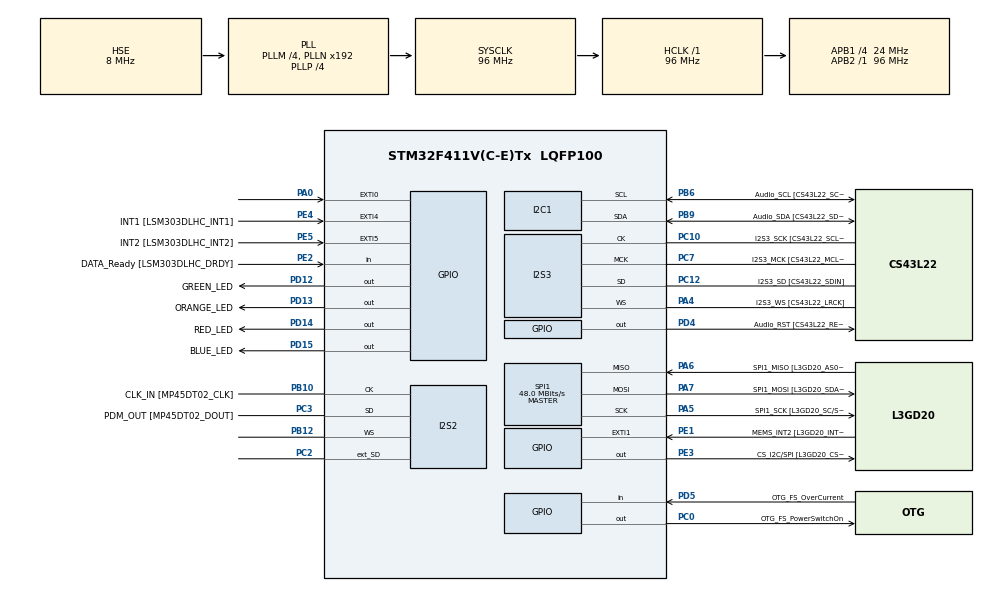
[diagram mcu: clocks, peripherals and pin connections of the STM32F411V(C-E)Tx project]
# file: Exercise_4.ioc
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FREERTOS.INCLUDE_vTaskDelayUntil=1
FREERTOS.Tasks01=GREEN_BLUE_LED,1,128,Start_GREEN_BLUE_LED,Default,NULL,Dynamic,NULL,NULL;RED_ORANGE_LED,0,128,Stat_RED_ORANGE_LED,Default,NULL,Dynamic,NULL,NULL
I2S2.AudioFreq=I2S_AUDIOFREQ_96K
I2S2.ErrorAudioFreq=0.15 %
I2S2.FullDuplexMode=I2S_FULLDUPLEXMODE_ENABLE
I2S2.Instance=SPI$Index
I2S2.RealAudioFreq=96.153 KHz
I2S2.VirtualMode=I2S_MODE_MASTER
I2S3.AudioFreq=I2S_AUDIOFREQ_96K
I2S3.ErrorAudioFreq=-6.99 %
I2S3.FullDuplexMode=I2S_FULLDUPLEXMODE_DISABLE
I2S3.Instance=SPI$Index
I2S3.RealAudioFreq=89.285 KHz
I2S3.VirtualMode=I2S_MODE_MASTER
Mcu.Family=STM32F4
Mcu.Name=STM32F411V(C-E)Tx
Mcu.Package=LQFP100
NVIC.PriorityGroup=NVIC_PRIORITYGROUP_4
NVIC.TIM1_UP_TIM10_IRQn=true\:0\:0\:false\:false\:true\:false\:false\:true
NVIC.TimeBase=TIM1_UP_TIM10_IRQn
NVIC.TimeBaseIP=TIM1
PA0-WKUP.GPIO_ModeDefaultEXTI=GPIO_MODE_EVT_RISING
PA0-WKUP.Signal=GPXTI0
PA10.GPIO_Label=OTG_FS_ID
PA10.Signal=USB_OTG_FS_ID
PA11.GPIO_Label=OTG_FS_DM
PA11.Signal=USB_OTG_FS_DM
PA12.GPIO_Label=OTG_FS_DP
PA12.Signal=USB_OTG_FS_DP
PA13.GPIO_Label=SWDIO
PA13.Mode=Serial_Wire
PA13.Signal=SYS_JTMS-SWDIO
PA14.GPIO_Label=SWCLK
PA14.Mode=Serial_Wire
PA14.Signal=SYS_JTCK-SWCLK
PA4.GPIO_Label=I2S3_WS [CS43L22_LRCK]
PA4.GPIO_Mode=GPIO_MODE_AF_PP
PA4.GPIO_PuPd=GPIO_NOPULL
PA4.GPIO_Speed=GPIO_SPEED_FREQ_LOW
PA4.Mode=Half_Duplex_Master
PA4.Signal=I2S3_WS
PA5.GPIO_Label=SPI1_SCK [L3GD20_SC/SPC]
PA5.Mode=Full_Duplex_Master
PA5.Signal=SPI1_SCK
PA6.GPIO_Label=SPI1_MISO [L3GD20_AS0/SDO]
PA6.Mode=Full_Duplex_Master
PA6.Signal=SPI1_MISO
PA7.GPIO_Label=SPI1_MOSI [L3GD20_SDA/SDI/SDO]
PA7.Mode=Full_Duplex_Master
PA7.Signal=SPI1_MOSI
PA9.GPIO_Label=VBUS_FS
PA9.Signal=USB_OTG_FS_VBUS
PB10.GPIO_Label=CLK_IN [MP45DT02_CLK]
PB10.Mode=Full_Duplex_Master
PB10.Signal=I2S2_CK
PB12.Mode=Full_Duplex_Master
PB12.Signal=I2S2_WS
PB3.GPIO_Label=SWO
PB3.Signal=SYS_JTDO-SWO
PB6.GPIO_Label=Audio_SCL [CS43L22_SCL]
PB6.GPIO_Mode=GPIO_MODE_AF_OD
PB6.GPIO_PuPd=GPIO_NOPULL
PB6.GPIO_Speed=GPIO_SPEED_FREQ_LOW
PB6.Mode=I2C
PB6.Signal=I2C1_SCL
PB9.GPIO_Label=Audio_SDA [CS43L22_SDA]
PB9.GPIO_Mode=GPIO_MODE_AF_OD
PB9.GPIO_PuPd=GPIO_NOPULL
PB9.GPIO_Speed=GPIO_SPEED_FREQ_LOW
PB9.Mode=I2C
PB9.Signal=I2C1_SDA
PC0.GPIO_Label=OTG_FS_PowerSwitchOn
PC0.PinState=GPIO_PIN_SET
PC0.Signal=GPIO_Output
PC10.GPIO_Label=I2S3_SCK [CS43L22_SCLK]
PC10.GPIO_Mode=GPIO_MODE_AF_PP
PC10.GPIO_PuPd=GPIO_NOPULL
PC10.GPIO_Speed=GPIO_SPEED_FREQ_LOW
PC10.Mode=Half_Duplex_Master
PC10.Signal=I2S3_CK
PC12.GPIO_Label=I2S3_SD [CS43L22_SDIN]
PC12.GPIO_Mode=GPIO_MODE_AF_PP
PC12.GPIO_PuPd=GPIO_NOPULL
PC12.GPIO_Speed=GPIO_SPEED_FREQ_LOW
PC12.Mode=Half_Duplex_Master
PC12.Signal=I2S3_SD
PC14-OSC32_IN.GPIO_Label=PC14-OSC32_IN
PC14-OSC32_IN.Mode=LSE-External-Oscillator
PC14-OSC32_IN.Signal=RCC_OSC32_IN
PC15-OSC32_OUT.GPIO_Label=PC15-OSC32_OUT
PC15-OSC32_OUT.Mode=LSE-External-Oscillator
PC15-OSC32_OUT.Signal=RCC_OSC32_OUT
PC2.Mode=Full_Duplex_Master
PC2.Signal=I2S2_ext_SD
PC3.GPIO_Label=PDM_OUT [MP45DT02_DOUT]
PC3.Mode=Full_Duplex_Master
PC3.Signal=I2S2_SD
PC7.GPIO_Label=I2S3_MCK [CS43L22_MCLK]
PC7.GPIO_Mode=GPIO_MODE_AF_PP
PC7.GPIO_PuPd=GPIO_NOPULL
PC7.GPIO_Speed=GPIO_SPEED_FREQ_LOW
PC7.Mode=Master_Clock_Activated
PC7.Signal=I2S3_MCK
PD12.GPIO_Label=GREEN_LED
PD12.GPIO_PuPd=GPIO_NOPULL
PD12.GPIO_Speed=GPIO_SPEED_FREQ_LOW
PD12.Signal=GPIO_Output
PD13.GPIO_Label=ORANGE_LED
PD13.GPIO_PuPd=GPIO_NOPULL
PD13.GPIO_Speed=GPIO_SPEED_FREQ_LOW
PD13.Signal=GPIO_Output
PD14.GPIO_Label=RED_LED
PD14.GPIO_PuPd=GPIO_NOPULL
PD14.GPIO_Speed=GPIO_SPEED_FREQ_LOW
PD14.Signal=GPIO_Output
PD15.GPIO_Label=BLUE_LED
PD15.GPIO_PuPd=GPIO_NOPULL
PD15.GPIO_Speed=GPIO_SPEED_FREQ_LOW
PD15.Signal=GPIO_Output
PD4.GPIO_Label=Audio_RST [CS43L22_RESET]
PD4.Signal=GPIO_Output
PD5.GPIO_Label=OTG_FS_OverCurrent
PD5.Signal=GPIO_Input
PE1.GPIO_Label=MEMS_INT2 [L3GD20_INT2]
PE1.GPIO_ModeDefaultEXTI=GPIO_MODE_EVT_RISING
PE1.Signal=GPXTI1
PE2.GPIO_Label=DATA_Ready [LSM303DLHC_DRDY]
PE2.Signal=GPIO_Input
PE3.GPIO_Label=CS_I2C/SPI [L3GD20_CS_I2C/SPI]
PE3.Signal=GPIO_Output
PE4.GPIO_Label=INT1 [LSM303DLHC_INT1]
PE4.GPIO_ModeDefaultEXTI=GPIO_MODE_EVT_RISING
PE4.Signal=GPXTI4
PE5.GPIO_Label=INT2 [LSM303DLHC_INT2]
PE5.GPIO_ModeDefaultEXTI=GPIO_MODE_EVT_RISING
PE5.Signal=GPXTI5
PH0\ -\ OSC_IN.GPIO_Label=PH0-OSC_IN
PH0\ -\ OSC_IN.Mode=HSE-External-Oscillator
PH0\ -\ OSC_IN.Signal=RCC_OSC_IN
PH1\ -\ OSC_OUT.GPIO_Label=PH1-OSC_OUT
PH1\ -\ OSC_OUT.Mode=HSE-External-Oscillator
PH1\ -\ OSC_OUT.Signal=RCC_OSC_OUT
ProjectManager.HeapSize=0x200
ProjectManager.StackSize=0x400
ProjectManager.TargetToolchain=STM32CubeIDE
RCC.48MHZClocksFreq_Value=48000000
RCC.AHBFreq_Value=96000000
RCC.APB1CLKDivider=RCC_HCLK_DIV4
RCC.APB1Freq_Value=24000000
RCC.APB1TimFreq_Value=48000000
RCC.APB2Freq_Value=96000000
RCC.APB2TimFreq_Value=96000000
RCC.CortexFreq_Value=96000000
RCC.HCLKFreq_Value=96000000
RCC.HSE_VALUE=8000000
RCC.HSI_VALUE=16000000
RCC.PLLI2SM=5
RCC.PLLI2SN=200
RCC.PLLM=4
RCC.PLLP=RCC_PLLP_DIV4
RCC.PLLQ=8
RCC.PLLSourceVirtual=RCC_PLLSOURCE_HSE
RCC.SYSCLKFreq_VALUE=96000000
RCC.SYSCLKSource=RCC_SYSCLKSOURCE_PLLCLK
RCC.VCOOutputFreq_Value=384000000
SPI1.BaudRatePrescaler=SPI_BAUDRATEPRESCALER_2
SPI1.CalculateBaudRate=48.0 MBits/s
SPI1.Direction=SPI_DIRECTION_2LINES
SPI1.Mode=SPI_MODE_MASTER
SPI1.VirtualType=VM_MASTER
VP_FREERTOS_VS_CMSIS_V1.Mode=CMSIS_V1
VP_SYS_VS_tim1.Mode=TIM1
board=STM32F411E-DISCO

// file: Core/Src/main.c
/* USER CODE BEGIN Header */
/**
  ******************************************************************************
  * @file           : main.c
  * @brief          : Main program body
  ******************************************************************************
  * @attention
  *
  * <h2><center>&copy; Copyright (c) 2024 STMicroelectronics.
  * All rights reserved.</center></h2>
  *
  * This software component is licensed by ST under Ultimate Liberty license
  * SLA0044, the "License"; You may not use this file except in compliance with
  * the License. You may obtain a copy of the License at:
  *                             www.st.com/SLA0044
  *
  ******************************************************************************
  */
/* USER CODE END Header */

#include "main.h"
#include "cmsis_os.h"

/* USER CODE BEGIN PD */
#define GREEN_LED   GPIO_PIN_12
#define ORANGE_LED  GPIO_PIN_13
#define RED_LED     GPIO_PIN_14
#define BLUE_LED    GPIO_PIN_15
/* USER CODE END PD */

I2C_HandleTypeDef hi2c1;

I2S_HandleTypeDef hi2s2;
I2S_HandleTypeDef hi2s3;

SPI_HandleTypeDef hspi1;

osThreadId GREEN_BLUE_LEDHandle;
osThreadId RED_ORANGE_LEDHandle;

void SystemClock_Config(void);
static void MX_GPIO_Init(void);
static void MX_I2C1_Init(void);
static void MX_I2S2_Init(void);
static void MX_I2S3_Init(void);
static void MX_SPI1_Init(void);
void Start_GREEN_BLUE_LED(void const * argument);
void Stat_RED_ORANGE_LED(void const * argument);

int main(void)
{

  /* MCU Configuration--------------------------------------------------------*/

  /* Reset of all peripherals, Initializes the Flash interface and the Systick. */
  HAL_Init();

  /* Configure the system clock */
  SystemClock_Config();

  /* Initialize all configured peripherals */
  MX_GPIO_Init();
  MX_I2C1_Init();
  MX_I2S2_Init();
  MX_I2S3_Init();
  MX_SPI1_Init();

  /* Create the thread(s) */
  /* definition and creation of GREEN_BLUE_LED */
  osThreadDef(GREEN_BLUE_LED, Start_GREEN_BLUE_LED, osPriorityAboveNormal, 0, 128);
  GREEN_BLUE_LEDHandle = osThreadCreate(osThread(GREEN_BLUE_LED), NULL);

  /* definition and creation of RED_ORANGE_LED */
  osThreadDef(RED_ORANGE_LED, Stat_RED_ORANGE_LED, osPriorityNormal, 0, 128);
  RED_ORANGE_LEDHandle = osThreadCreate(osThread(RED_ORANGE_LED), NULL);

  /* Start scheduler */
  osKernelStart();

  /* We should never get here as control is now taken by the scheduler */

  /* Infinite loop */
  while (1)
  {

  }
}

void SystemClock_Config(void)
{
  RCC_OscInitTypeDef RCC_OscInitStruct = {0};
  RCC_ClkInitTypeDef RCC_ClkInitStruct = {0};
  RCC_PeriphCLKInitTypeDef PeriphClkInitStruct = {0};

  /** Configure the main internal regulator output voltage
  */
  __HAL_RCC_PWR_CLK_ENABLE();
  __HAL_PWR_VOLTAGESCALING_CONFIG(PWR_REGULATOR_VOLTAGE_SCALE1);
  /** Initializes the CPU, AHB and APB busses clocks
  */
  RCC_OscInitStruct.OscillatorType = RCC_OSCILLATORTYPE_HSE;
  RCC_OscInitStruct.HSEState = RCC_HSE_ON;
  RCC_OscInitStruct.PLL.PLLState = RCC_PLL_ON;
  RCC_OscInitStruct.PLL.PLLSource = RCC_PLLSOURCE_HSE;
  RCC_OscInitStruct.PLL.PLLM = 4;
  RCC_OscInitStruct.PLL.PLLN = 192;
  RCC_OscInitStruct.PLL.PLLP = RCC_PLLP_DIV4;
  RCC_OscInitStruct.PLL.PLLQ = 8;
  if (HAL_RCC_OscConfig(&RCC_OscInitStruct) != HAL_OK)
  {
    Error_Handler();
  }
  /** Initializes the CPU, AHB and APB busses clocks
  */
  RCC_ClkInitStruct.ClockType = RCC_CLOCKTYPE_HCLK|RCC_CLOCKTYPE_SYSCLK
                              |RCC_CLOCKTYPE_PCLK1|RCC_CLOCKTYPE_PCLK2;
  RCC_ClkInitStruct.SYSCLKSource = RCC_SYSCLKSOURCE_PLLCLK;
  RCC_ClkInitStruct.AHBCLKDivider = RCC_SYSCLK_DIV1;
  RCC_ClkInitStruct.APB1CLKDivider = RCC_HCLK_DIV4;
  RCC_ClkInitStruct.APB2CLKDivider = RCC_HCLK_DIV1;

  if (HAL_RCC_ClockConfig(&RCC_ClkInitStruct, FLASH_LATENCY_3) != HAL_OK)
  {
    Error_Handler();
  }
  PeriphClkInitStruct.PeriphClockSelection = RCC_PERIPHCLK_I2S;
  PeriphClkInitStruct.PLLI2S.PLLI2SN = 200;
  PeriphClkInitStruct.PLLI2S.PLLI2SM = 5;
  PeriphClkInitStruct.PLLI2S.PLLI2SR = 2;
  if (HAL_RCCEx_PeriphCLKConfig(&PeriphClkInitStruct) != HAL_OK)
  {
    Error_Handler();
  }
}

static void MX_I2C1_Init(void)
{

  hi2c1.Instance = I2C1;
  hi2c1.Init.ClockSpeed = 100000;
  hi2c1.Init.DutyCycle = I2C_DUTYCYCLE_2;
  hi2c1.Init.OwnAddress1 = 0;
  hi2c1.Init.AddressingMode = I2C_ADDRESSINGMODE_7BIT;
  hi2c1.Init.DualAddressMode = I2C_DUALADDRESS_DISABLE;
  hi2c1.Init.OwnAddress2 = 0;
  hi2c1.Init.GeneralCallMode = I2C_GENERALCALL_DISABLE;
  hi2c1.Init.NoStretchMode = I2C_NOSTRETCH_DISABLE;
  if (HAL_I2C_Init(&hi2c1) != HAL_OK)
  {
    Error_Handler();
  }

}

static void MX_I2S2_Init(void)
{

  hi2s2.Instance = SPI2;
  hi2s2.Init.Mode = I2S_MODE_MASTER_TX;
  hi2s2.Init.Standard = I2S_STANDARD_PHILIPS;
  hi2s2.Init.DataFormat = I2S_DATAFORMAT_16B;
  hi2s2.Init.MCLKOutput = I2S_MCLKOUTPUT_DISABLE;
  hi2s2.Init.AudioFreq = I2S_AUDIOFREQ_96K;
  hi2s2.Init.CPOL = I2S_CPOL_LOW;
  hi2s2.Init.ClockSource = I2S_CLOCK_PLL;
  hi2s2.Init.FullDuplexMode = I2S_FULLDUPLEXMODE_ENABLE;
  if (HAL_I2S_Init(&hi2s2) != HAL_OK)
  {
    Error_Handler();
  }

}

static void MX_I2S3_Init(void)
{

  hi2s3.Instance = SPI3;
  hi2s3.Init.Mode = I2S_MODE_MASTER_TX;
  hi2s3.Init.Standard = I2S_STANDARD_PHILIPS;
  hi2s3.Init.DataFormat = I2S_DATAFORMAT_16B;
  hi2s3.Init.MCLKOutput = I2S_MCLKOUTPUT_ENABLE;
  hi2s3.Init.AudioFreq = I2S_AUDIOFREQ_96K;
  hi2s3.Init.CPOL = I2S_CPOL_LOW;
  hi2s3.Init.ClockSource = I2S_CLOCK_PLL;
  hi2s3.Init.FullDuplexMode = I2S_FULLDUPLEXMODE_DISABLE;
  if (HAL_I2S_Init(&hi2s3) != HAL_OK)
  {
    Error_Handler();
  }

}

static void MX_SPI1_Init(void)
{

  /* SPI1 parameter configuration*/
  hspi1.Instance = SPI1;
  hspi1.Init.Mode = SPI_MODE_MASTER;
  hspi1.Init.Direction = SPI_DIRECTION_2LINES;
  hspi1.Init.DataSize = SPI_DATASIZE_8BIT;
  hspi1.Init.CLKPolarity = SPI_POLARITY_LOW;
  hspi1.Init.CLKPhase = SPI_PHASE_1EDGE;
  hspi1.Init.NSS = SPI_NSS_SOFT;
  hspi1.Init.BaudRatePrescaler = SPI_BAUDRATEPRESCALER_2;
  hspi1.Init.FirstBit = SPI_FIRSTBIT_MSB;
  hspi1.Init.TIMode = SPI_TIMODE_DISABLE;
  hspi1.Init.CRCCalculation = SPI_CRCCALCULATION_DISABLE;
  hspi1.Init.CRCPolynomial = 10;
  if (HAL_SPI_Init(&hspi1) != HAL_OK)
  {
    Error_Handler();
  }

}

static void MX_GPIO_Init(void)
{
  GPIO_InitTypeDef GPIO_InitStruct = {0};

  /* GPIO Ports Clock Enable */
  __HAL_RCC_GPIOE_CLK_ENABLE();
  __HAL_RCC_GPIOC_CLK_ENABLE();
  __HAL_RCC_GPIOH_CLK_ENABLE();
  __HAL_RCC_GPIOA_CLK_ENABLE();
  __HAL_RCC_GPIOB_CLK_ENABLE();
  __HAL_RCC_GPIOD_CLK_ENABLE();

  /*Configure GPIO pin Output Level */
  HAL_GPIO_WritePin(CS_I2C_SPI_GPIO_Port, CS_I2C_SPI_Pin, GPIO_PIN_RESET);

  /*Configure GPIO pin Output Level */
  HAL_GPIO_WritePin(OTG_FS_PowerSwitchOn_GPIO_Port, OTG_FS_PowerSwitchOn_Pin, GPIO_PIN_SET);

  /*Configure GPIO pin Output Level */
  HAL_GPIO_WritePin(GPIOD, GREEN_LED_Pin|ORANGE_LED_Pin|RED_LED_Pin|BLUE_LED_Pin
                          |Audio_RST_Pin, GPIO_PIN_RESET);

  /*Configure GPIO pin : DATA_Ready_Pin */
  GPIO_InitStruct.Pin = DATA_Ready_Pin;
  GPIO_InitStruct.Mode = GPIO_MODE_INPUT;
  GPIO_InitStruct.Pull = GPIO_NOPULL;
  HAL_GPIO_Init(DATA_Ready_GPIO_Port, &GPIO_InitStruct);

  /*Configure GPIO pin : CS_I2C_SPI_Pin */
  GPIO_InitStruct.Pin = CS_I2C_SPI_Pin;
  GPIO_InitStruct.Mode = GPIO_MODE_OUTPUT_PP;
  GPIO_InitStruct.Pull = GPIO_NOPULL;
  GPIO_InitStruct.Speed = GPIO_SPEED_FREQ_LOW;
  HAL_GPIO_Init(CS_I2C_SPI_GPIO_Port, &GPIO_InitStruct);

  /*Configure GPIO pins : INT1_Pin INT2_Pin MEMS_INT2_Pin */
  GPIO_InitStruct.Pin = INT1_Pin|INT2_Pin|MEMS_INT2_Pin;
  GPIO_InitStruct.Mode = GPIO_MODE_EVT_RISING;
  GPIO_InitStruct.Pull = GPIO_NOPULL;
  HAL_GPIO_Init(GPIOE, &GPIO_InitStruct);

  /*Configure GPIO pin : OTG_FS_PowerSwitchOn_Pin */
  GPIO_InitStruct.Pin = OTG_FS_PowerSwitchOn_Pin;
  GPIO_InitStruct.Mode = GPIO_MODE_OUTPUT_PP;
  GPIO_InitStruct.Pull = GPIO_NOPULL;
  GPIO_InitStruct.Speed = GPIO_SPEED_FREQ_LOW;
  HAL_GPIO_Init(OTG_FS_PowerSwitchOn_GPIO_Port, &GPIO_InitStruct);

  /*Configure GPIO pin : PA0 */
  GPIO_InitStruct.Pin = GPIO_PIN_0;
  GPIO_InitStruct.Mode = GPIO_MODE_EVT_RISING;
  GPIO_InitStruct.Pull = GPIO_NOPULL;
  HAL_GPIO_Init(GPIOA, &GPIO_InitStruct);

  /*Configure GPIO pins : GREEN_LED_Pin ORANGE_LED_Pin RED_LED_Pin BLUE_LED_Pin
                           Audio_RST_Pin */
  GPIO_InitStruct.Pin = GREEN_LED_Pin|ORANGE_LED_Pin|RED_LED_Pin|BLUE_LED_Pin
                          |Audio_RST_Pin;
  GPIO_InitStruct.Mode = GPIO_MODE_OUTPUT_PP;
  GPIO_InitStruct.Pull = GPIO_NOPULL;
  GPIO_InitStruct.Speed = GPIO_SPEED_FREQ_LOW;
  HAL_GPIO_Init(GPIOD, &GPIO_InitStruct);

  /*Configure GPIO pin : VBUS_FS_Pin */
  GPIO_InitStruct.Pin = VBUS_FS_Pin;
  GPIO_InitStruct.Mode = GPIO_MODE_INPUT;
  GPIO_InitStruct.Pull = GPIO_NOPULL;
  HAL_GPIO_Init(VBUS_FS_GPIO_Port, &GPIO_InitStruct);

  /*Configure GPIO pins : OTG_FS_ID_Pin OTG_FS_DM_Pin OTG_FS_DP_Pin */
  GPIO_InitStruct.Pin = OTG_FS_ID_Pin|OTG_FS_DM_Pin|OTG_FS_DP_Pin;
  GPIO_InitStruct.Mode = GPIO_MODE_AF_PP;
  GPIO_InitStruct.Pull = GPIO_NOPULL;
  GPIO_InitStruct.Speed = GPIO_SPEED_FREQ_VERY_HIGH;
  GPIO_InitStruct.Alternate = GPIO_AF10_OTG_FS;
  HAL_GPIO_Init(GPIOA, &GPIO_InitStruct);

  /*Configure GPIO pin : OTG_FS_OverCurrent_Pin */
  GPIO_InitStruct.Pin = OTG_FS_OverCurrent_Pin;
  GPIO_InitStruct.Mode = GPIO_MODE_INPUT;
  GPIO_InitStruct.Pull = GPIO_NOPULL;
  HAL_GPIO_Init(OTG_FS_OverCurrent_GPIO_Port, &GPIO_InitStruct);

}

void Start_GREEN_BLUE_LED(void const * argument)
{
  /* USER CODE BEGIN 5 */
  /* Infinite loop */
  for(;;)
  {
    HAL_GPIO_WritePin(GPIOD, GREEN_LED, GPIO_PIN_SET);
    for(int i = 0; i <= 160; i++)
    {
       vTaskDelay(25);
       HAL_GPIO_TogglePin(GPIOD, BLUE_LED);
    }
    HAL_GPIO_WritePin(GPIOD, BLUE_LED, GPIO_PIN_RESET);
    HAL_GPIO_WritePin(GPIOD, GREEN_LED, GPIO_PIN_RESET);
    vTaskDelay(6000);
  }
  /* USER CODE END 5 */
}

void Stat_RED_ORANGE_LED(void const * argument)
{
  /* USER CODE BEGIN Stat_RED_ORANGE_LED */
  /* Infinite loop */
  for(;;)
  {
    HAL_GPIO_WritePin(GPIOD, RED_LED, GPIO_PIN_SET);
    for(int i = 0; i <= 200; i++)
	{
	  vTaskDelay(25);
	  HAL_GPIO_TogglePin(GPIOD, ORANGE_LED);
    }
	HAL_GPIO_WritePin(GPIOD, ORANGE_LED, GPIO_PIN_RESET);
    HAL_GPIO_WritePin(GPIOD, RED_LED, GPIO_PIN_RESET);
    vTaskDelay(1500);
  }
  /* USER CODE END Stat_RED_ORANGE_LED */
}

void HAL_TIM_PeriodElapsedCallback(TIM_HandleTypeDef *htim)
{
  if (htim->Instance == TIM1) {
    HAL_IncTick();
  }
}

void Error_Handler(void)
{
}

/************************ (C) COPYRIGHT STMicroelectronics *****END OF FILE****/
